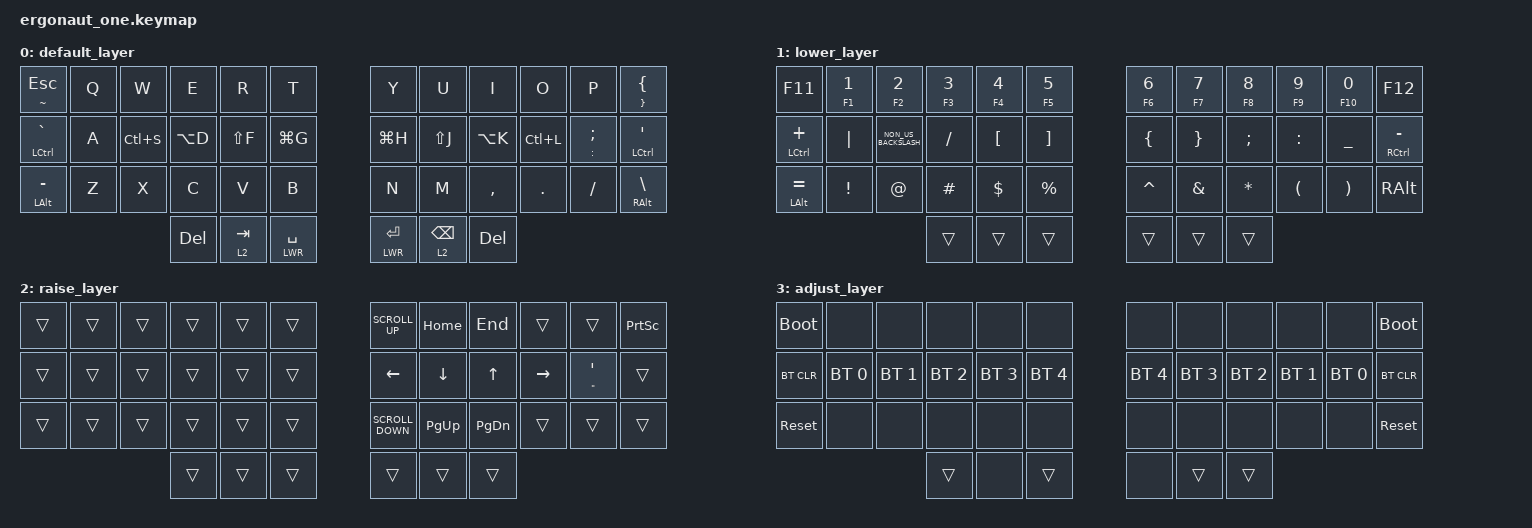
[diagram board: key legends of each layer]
#include <behaviors.dtsi>
#include <dt-bindings/zmk/bt.h>
#include <dt-bindings/zmk/keys.h>

#define DEF 0
#define LWR 1
#define RSE 2
#define ADJ 3

&lt { quick-tap-ms = <200>; };

&mt { quick-tap-ms = <200>; };

/ {
    conditional_layers {
        compatible = "zmk,conditional-layers";

        tri-layer {
            if-layers = <1 2>;
            then-layer = <3>;
        };
    };

    behaviors {
        sticky_key: sticky_key {
            compatible = "zmk,behavior-sticky-key";
            label = "STICKY_KEY";
            bindings = <&sk>;
            #binding-cells = <1>;
            release-after-ms = <1>;
            quick-release;
            lazy;
        };
    };

    keymap {
        compatible = "zmk,keymap";

        default_layer {
            bindings = <
&mt TILDE ESCAPE  &kp Q  &kp W      &kp E       &kp R      &kp T          &kp Y          &kp U            &kp I       &kp O      &kp P                &mt RIGHT_BRACE LEFT_BRACE
&mt LCTRL GRAVE   &kp A  &kp LC(S)  &kp LA(D)   &kp LS(F)  &kp LG(G)      &kp LG(H)      &kp LS(J)        &kp LA(K)   &kp LC(L)  &mt COLON SEMICOLON  &mt LEFT_CONTROL SQT
&mt LALT MINUS    &kp Z  &kp X      &kp C       &kp V      &kp B          &kp N          &kp M            &kp COMMA   &kp DOT    &kp FSLH             &mt RALT BSLH
                                    &kp DELETE  &lt 2 TAB  &lt LWR SPACE  &lt LWR ENTER  &lt 2 BACKSPACE  &kp DELETE
            >;
        };

        lower_layer {
            bindings = <
&kp F11         &mt F1 NUMBER_1  &mt F2 NUMBER_2       &mt F3 NUMBER_3  &mt F4 NUMBER_4   &mt F5 N5          &mt F6 NUMBER_6  &mt F7 N7        &mt F8 N8      &mt F9 N9             &mt F10 N0             &kp F12
&mt LCTRL PLUS  &kp PIPE         &kp NON_US_BACKSLASH  &kp SLASH        &kp LEFT_BRACKET  &kp RIGHT_BRACKET  &kp LEFT_BRACE   &kp RIGHT_BRACE  &kp SEMICOLON  &kp COLON             &kp UNDERSCORE         &mt RCTRL MINUS
&mt LALT EQUAL  &kp EXCLAMATION  &kp AT_SIGN           &kp HASH         &kp DOLLAR        &kp PERCENT        &kp CARET        &kp AMPERSAND    &kp ASTERISK   &kp LEFT_PARENTHESIS  &kp RIGHT_PARENTHESIS  &kp RALT
                                                       &trans           &trans            &trans             &trans           &trans           &trans
            >;
        };

        raise_layer {
            bindings = <
&trans  &trans  &trans  &trans  &trans  &trans  &kp K_SCROLL_UP    &kp HOME        &kp END        &trans     &trans                          &kp PRINTSCREEN
&trans  &trans  &trans  &trans  &trans  &trans  &kp LEFT_ARROW     &kp DOWN_ARROW  &kp UP_ARROW   &kp RIGHT  &mt DOUBLE_QUOTES SINGLE_QUOTE  &trans
&trans  &trans  &trans  &trans  &trans  &trans  &kp K_SCROLL_DOWN  &kp PAGE_UP     &kp PAGE_DOWN  &trans     &trans                          &trans
                        &trans  &trans  &trans  &trans             &trans          &trans
            >;
        };

        adjust_layer {
            bindings = <
&bootloader  &none         &none         &none         &none         &none         &none         &none         &none         &none         &none         &bootloader
&bt BT_CLR   &bt BT_SEL 0  &bt BT_SEL 1  &bt BT_SEL 2  &bt BT_SEL 3  &bt BT_SEL 4  &bt BT_SEL 4  &bt BT_SEL 3  &bt BT_SEL 2  &bt BT_SEL 1  &bt BT_SEL 0  &bt BT_CLR
&sys_reset   &none         &none         &none         &none         &none         &none         &none         &none         &none         &none         &sys_reset
                                         &trans        &none         &trans        &none         &trans        &trans
            >;
        };
    };
};
